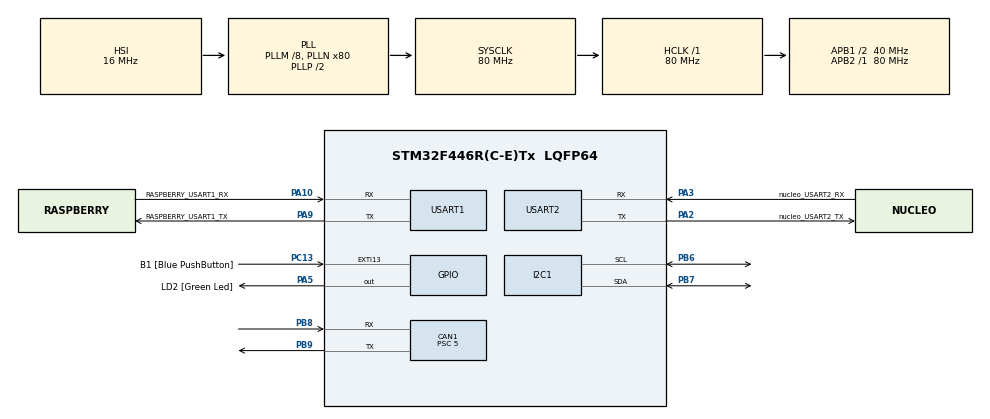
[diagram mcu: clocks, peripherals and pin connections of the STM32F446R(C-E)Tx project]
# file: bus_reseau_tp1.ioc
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CAN1.BS1=CAN_BS1_13TQ
CAN1.BS2=CAN_BS2_2TQ
CAN1.CalculateBaudRate=500000
CAN1.CalculateTimeBit=2000
CAN1.CalculateTimeQuantum=125.0
CAN1.Prescaler=5
Mcu.Family=STM32F4
Mcu.Name=STM32F446R(C-E)Tx
Mcu.Package=LQFP64
NVIC.PriorityGroup=NVIC_PRIORITYGROUP_0
NVIC.USART1_IRQn=true\:0\:0\:false\:false\:true\:true\:true\:true
PA10.GPIO_Label=RASPBERRY_USART1_RX
PA10.Mode=Asynchronous
PA10.Signal=USART1_RX
PA13.GPIO_Label=TMS
PA13.Mode=Serial_Wire
PA13.Signal=SYS_JTMS-SWDIO
PA14.GPIO_Label=TCK
PA14.Mode=Serial_Wire
PA14.Signal=SYS_JTCK-SWCLK
PA2.GPIO_Label=nucleo_USART2_TX
PA2.Mode=Asynchronous
PA2.Signal=USART2_TX
PA3.GPIO_Label=nucleo_USART2_RX
PA3.Mode=Asynchronous
PA3.Signal=USART2_RX
PA5.GPIO_Label=LD2 [Green Led]
PA5.Signal=GPIO_Output
PA9.GPIO_Label=RASPBERRY_USART1_TX
PA9.Mode=Asynchronous
PA9.Signal=USART1_TX
PB3.GPIO_Label=SWO
PB3.Signal=SYS_JTDO-SWO
PB6.Mode=I2C
PB6.Signal=I2C1_SCL
PB7.Mode=I2C
PB7.Signal=I2C1_SDA
PB8.Mode=CAN_Activate
PB8.Signal=CAN1_RX
PB9.Mode=CAN_Activate
PB9.Signal=CAN1_TX
PC10.GPIO_Label=RASPBERRY_USART3_TX
PC10.Signal=USART3_TX
PC11.GPIO_Label=RASPBERRY_USART3_RX
PC11.Signal=USART3_RX
PC13.GPIO_Label=B1 [Blue PushButton]
PC13.GPIO_ModeDefaultEXTI=GPIO_MODE_IT_FALLING
PC13.Signal=GPXTI13
PC14-OSC32_IN.Mode=LSE-External-Oscillator
PC14-OSC32_IN.Signal=RCC_OSC32_IN
PC15-OSC32_OUT.Mode=LSE-External-Oscillator
PC15-OSC32_OUT.Signal=RCC_OSC32_OUT
PH0-OSC_IN.Mode=HSE-External-Oscillator
PH0-OSC_IN.Signal=RCC_OSC_IN
PH1-OSC_OUT.Mode=HSE-External-Oscillator
PH1-OSC_OUT.Signal=RCC_OSC_OUT
ProjectManager.HeapSize=0x200
ProjectManager.StackSize=0x400
ProjectManager.TargetToolchain=STM32CubeIDE
RCC.48MHZClocksFreq_Value=84000000
RCC.AHBFreq_Value=80000000
RCC.APB1CLKDivider=RCC_HCLK_DIV2
RCC.APB1Freq_Value=40000000
RCC.APB1TimFreq_Value=80000000
RCC.APB2Freq_Value=80000000
RCC.APB2TimFreq_Value=80000000
RCC.CortexFreq_Value=80000000
RCC.FLatency-AdvancedSettings=FLASH_LATENCY_2
RCC.HCLKFreq_Value=80000000
RCC.HSE_VALUE=8000000
RCC.HSI_VALUE=16000000
RCC.PLLM=8
RCC.PLLN=80
RCC.SYSCLKFreq_VALUE=80000000
RCC.SYSCLKSource=RCC_SYSCLKSOURCE_PLLCLK
RCC.USBFreq_Value=80000000
RCC.VCOOutputFreq_Value=160000000
USART1.VirtualMode=VM_ASYNC
USART2.VirtualMode=VM_ASYNC
board=NUCLEO-F446RE

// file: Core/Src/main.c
/* USER CODE BEGIN Header */
/**
 ******************************************************************************
 * @file           : main.c
 * @brief          : Main program body
 ******************************************************************************
 * @attention
 *
 * Copyright (c) 2024 STMicroelectronics.
 * All rights reserved.
 *
 * This software is licensed under terms that can be found in the LICENSE file
 * in the root directory of this software component.
 * If no LICENSE file comes with this software, it is provided AS-IS.
 *
 ******************************************************************************
 */
/* USER CODE END Header */
#include "main.h"

/* USER CODE BEGIN Includes */
#include "stdio.h"
#include "BMP280_vincent.h"
//#include "stm32f4xx_hal_can.h"

/* USER CODE END Includes */

/* USER CODE BEGIN PD */
#define BMP_ADDR (0x77 << 1)  // Décale 0x77 d'un bit vers la gauche
// DOC https://moodle.ensea.fr/pluginfile.php/5788/mod_resource/content/1/bst-bmp280-ds001.pdf page 29

#define BMP_ID_REG 0xD0 //id du registre selon la doc
/* USER CODE END PD */

CAN_HandleTypeDef hcan1;

I2C_HandleTypeDef hi2c1;

UART_HandleTypeDef huart1;
UART_HandleTypeDef huart2;

/* USER CODE BEGIN PV */
extern uint8_t RxBuff[RX_BUFF_SIZE];

extern CAN_TxHeaderTypeDef pHeader;
extern uint8_t aData[3];  // Tableau pour les données à transmettre
extern uint32_t pTxMailbox;
/* USER CODE END PV */

void SystemClock_Config(void);
static void MX_GPIO_Init(void);
static void MX_USART2_UART_Init(void);
static void MX_I2C1_Init(void);
static void MX_USART1_UART_Init(void);
static void MX_CAN1_Init(void);

/* USER CODE BEGIN 0 */
#ifdef __GNUC__  With GCC/RAISONANCE, small printf (option LD Linker->Libraries->Small printf    set to 'Yes') calls __io_putchar()
#define PUTCHAR_PROTOTYPE int __io_putchar(int ch)
#else
#define PUTCHAR_PROTOTYPE int fputc(int ch, FILE *f)
#endif  __GNUC__

/*
void can_change_temp(){

	//TP4 partie CAN d
	//début *******************************************

	BMP280_S32_t temp_uncompen;

	//déclaration des variables contenant la température non compensée
	temp_uncompen= BMP280_get_temperature(); //récupérer la température

	//déclaration des variables contenant la température  compensée
	BMP280_U32_t temp_comp,old_temp;

	temp_comp=bmp280_compensate_T_int32(temp_uncompen); //récupérer la température compensé

	if(fabs(temp_comp-old_temp)>40){

		// CAN part start  while loop
		aData[0] = 90;  // D0 : 90° en hexadécimal (0x5A)
		aData[1] = 1-aData[1];  // D1 : Angle positif

	}

//tx_can

//	// Envoi du message CAN avec l'angle de 90°
//	HAL_StatusTypeDef status = HAL_CAN_AddTxMessage(&hcan1, &pHeader, aData, &pTxMailbox);
//
//	// Vérification du statut d'envoi
//	if (status != HAL_OK) {
//		// Gérer l'erreur d'envoi
//		printf(" [can_setter] err while CAN\r\n");
//	}

	//CAN oart finish while loop

	old_temp = temp_comp;//mise à jour de la température

}*/

/* USER CODE END 0 */

int main(void)
{

	/* MCU Configuration--------------------------------------------------------*/

	/* Reset of all peripherals, Initializes the Flash interface and the Systick. */
	HAL_Init();

	/* Configure the system clock */
	SystemClock_Config();

	/* Initialize all configured peripherals */
	MX_GPIO_Init();
	MX_USART2_UART_Init();
	MX_I2C1_Init();
	MX_USART1_UART_Init();
	MX_CAN1_Init();
	/* USER CODE BEGIN 2 */

	HAL_UART_Receive_IT(&huart1, RxBuff,RX_BUFF_SIZE);

	BMP280_S32_t temp_uncompen;
	BMP280_S32_t pres_uncompen;

	//déclaration des variables contenant la température non compensée
	BMP280_U32_t temp_comp;
	BMP280_U32_t pres_comp;

	BMP280_checkID();
	BMP280_config();
	BMP280_calib(); //récupère données étallonnage

	printf("main\r\n");

	//***************** COnnexion au moteur Avec fonctions du driver ******************************

	//enable_can();

	//***********************************************

	//********************FOnctionnel avec Mr.B**********************************************************************
	//TP4 partie CAN d
	//début *******************************************

	/*

	//Activer le module can
	HAL_StatusTypeDef start_can= HAL_CAN_Start(&hcan1);
	if(start_can!= HAL_OK) {

		// Gérer l'erreur d'envoi
		printf("erreur démarrage CAN\r\n");

	}
	 */

	/*
	//déclaration du pHeader
	CAN_TxHeaderTypeDef pHeader;
	uint8_t aData[3];  // Tableau pour les données à transmettre

	// Configuration du champ pHeader
	pHeader.StdId = 0x61;          // Identifiant standard pour la commande "Angle"
	pHeader.IDE = CAN_ID_STD;      //(0x00000000U)  !< Standard Id
	pHeader.RTR = CAN_RTR_DATA;    //(0x00000000U)  !< Data frame
	pHeader.DLC = 2;
	pHeader.TransmitGlobalTime = DISABLE;

	aData[0] = 90;  // D0 : 90° en hexadécimal (0x5A)
	aData[1] = 0x00;  // D1 : Angle positif

	uint32_t pTxMailbox; // Variable pour stocker l'indice de la boîte aux lettres CAN

	// Envoi du message CAN avec l'angle de 90°
	HAL_StatusTypeDef status = HAL_CAN_AddTxMessage(&hcan1, &pHeader, aData, &pTxMailbox);

	// Vérification du statut d'envoi
	if (status != HAL_OK) {
		// Gérer l'erreur d'envoi
		printf("erreur CAN\r\n");
	}
	else{
		printf("premiere conf reussi\r\n");
	}
	//fin partie CAN *******************************************

	//*********************************************************************************************

	 */

	//tx_can(pHeader, aData, pTxMailbox);

	/* USER CODE END 2 */

	/* Infinite loop */
	/* USER CODE BEGIN WHILE */
	while (1)
	{

/*

		//printf("\n on rentre dans le while\r\n");

		//capter la température
		temp_uncompen= BMP280_get_temperature(); //récupérer la température
		temp_comp=bmp280_compensate_T_int32(temp_uncompen); //récupérer la température

		//printf("T=%ld%ld.%ld%ld_C\r\n",(temp_comp/1000)%10,(temp_comp/100)%10,(temp_comp/10)%10,temp_comp%10);

		//Les Affichages

		//Température

		printf("valeur non compensée de la température %u \r\n",temp_uncompen);

		printf("T=%ld%ld.%ld%ld_C\r\n",(temp_comp/1000)%10,(temp_comp/100)%10,(temp_comp/10)%10,temp_comp%10);

		//Pression
		pres_uncompen=BMP280_get_pressure(); //récupérer la pression
		pres_comp=bmp280_compensate_P_int64(pres_uncompen); //compenser la pression
		//HAL_Delay(1000);

		printf("P=%f_Pa  \r\n",((float)(pres_comp))/256);
*/

		/*
		//*******************************************Fonctionnel CAN avec Mr.B *********************

		// CAN part start  while loop
		aData[0] = 90;  // D0 : 90° en hexadécimal (0x5A)
		aData[1] = 1-aData[1];  //

		// Envoi du message CAN avec l'angle de 90°
		HAL_StatusTypeDef status = HAL_CAN_AddTxMessage(&hcan1, &pHeader, aData, &pTxMailbox);

		// Vérification du statut d'envoi
		if (status != HAL_OK) {
			// Gérer l'erreur d'envoi
			printf(" err while CAN\r\n");
		}
		else {
			printf("change rotation complete \r\n");

		}

		//CAN oart finish while loop

		//*******************************************Fonctionnel CAN avec Mr.B *********************
		 */

		//*********************************************TP5 5.1**********************

		//Faire pivoter le moteur +90 puis -90 avec la fonction du driver
		//can_setter(pHeader, aData, pTxMailbox);

		//*********************************************TP5 5.2**********************
		//temp_uncompen= BMP280_get_temperature(); //récupérer la température
		//temp_comp=bmp280_compensate_T_int32(temp_uncompen); //récupérer la température

		//can_change_temp(temp_comp);

		//faire bouger le moteur en fonction de la température

		HAL_Delay(1000);

		/* USER CODE END WHILE */

	}
}

void SystemClock_Config(void)
{
	RCC_OscInitTypeDef RCC_OscInitStruct = {0};
	RCC_ClkInitTypeDef RCC_ClkInitStruct = {0};

	/** Configure the main internal regulator output voltage
	 */
	__HAL_RCC_PWR_CLK_ENABLE();
	__HAL_PWR_VOLTAGESCALING_CONFIG(PWR_REGULATOR_VOLTAGE_SCALE3);

	/** Initializes the RCC Oscillators according to the specified parameters
	 * in the RCC_OscInitTypeDef structure.
	 */
	RCC_OscInitStruct.OscillatorType = RCC_OSCILLATORTYPE_HSI;
	RCC_OscInitStruct.HSIState = RCC_HSI_ON;
	RCC_OscInitStruct.HSICalibrationValue = RCC_HSICALIBRATION_DEFAULT;
	RCC_OscInitStruct.PLL.PLLState = RCC_PLL_ON;
	RCC_OscInitStruct.PLL.PLLSource = RCC_PLLSOURCE_HSI;
	RCC_OscInitStruct.PLL.PLLM = 8;
	RCC_OscInitStruct.PLL.PLLN = 80;
	RCC_OscInitStruct.PLL.PLLP = RCC_PLLP_DIV2;
	RCC_OscInitStruct.PLL.PLLQ = 2;
	RCC_OscInitStruct.PLL.PLLR = 2;
	if (HAL_RCC_OscConfig(&RCC_OscInitStruct) != HAL_OK)
	{
		Error_Handler();
	}

	/** Initializes the CPU, AHB and APB buses clocks
	 */
	RCC_ClkInitStruct.ClockType = RCC_CLOCKTYPE_HCLK|RCC_CLOCKTYPE_SYSCLK
			|RCC_CLOCKTYPE_PCLK1|RCC_CLOCKTYPE_PCLK2;
	RCC_ClkInitStruct.SYSCLKSource = RCC_SYSCLKSOURCE_PLLCLK;
	RCC_ClkInitStruct.AHBCLKDivider = RCC_SYSCLK_DIV1;
	RCC_ClkInitStruct.APB1CLKDivider = RCC_HCLK_DIV2;
	RCC_ClkInitStruct.APB2CLKDivider = RCC_HCLK_DIV1;

	if (HAL_RCC_ClockConfig(&RCC_ClkInitStruct, FLASH_LATENCY_2) != HAL_OK)
	{
		Error_Handler();
	}
}

static void MX_CAN1_Init(void)
{

	hcan1.Instance = CAN1;
	hcan1.Init.Prescaler = 5;
	hcan1.Init.Mode = CAN_MODE_NORMAL;
	hcan1.Init.SyncJumpWidth = CAN_SJW_1TQ;
	hcan1.Init.TimeSeg1 = CAN_BS1_13TQ;
	hcan1.Init.TimeSeg2 = CAN_BS2_2TQ;
	hcan1.Init.TimeTriggeredMode = DISABLE;
	hcan1.Init.AutoBusOff = DISABLE;
	hcan1.Init.AutoWakeUp = DISABLE;
	hcan1.Init.AutoRetransmission = DISABLE;
	hcan1.Init.ReceiveFifoLocked = DISABLE;
	hcan1.Init.TransmitFifoPriority = DISABLE;
	if (HAL_CAN_Init(&hcan1) != HAL_OK)
	{
		Error_Handler();
	}

}

static void MX_I2C1_Init(void)
{

	hi2c1.Instance = I2C1;
	hi2c1.Init.ClockSpeed = 100000;
	hi2c1.Init.DutyCycle = I2C_DUTYCYCLE_2;
	hi2c1.Init.OwnAddress1 = 0;
	hi2c1.Init.AddressingMode = I2C_ADDRESSINGMODE_7BIT;
	hi2c1.Init.DualAddressMode = I2C_DUALADDRESS_DISABLE;
	hi2c1.Init.OwnAddress2 = 0;
	hi2c1.Init.GeneralCallMode = I2C_GENERALCALL_DISABLE;
	hi2c1.Init.NoStretchMode = I2C_NOSTRETCH_DISABLE;
	if (HAL_I2C_Init(&hi2c1) != HAL_OK)
	{
		Error_Handler();
	}

}

static void MX_USART1_UART_Init(void)
{

	huart1.Instance = USART1;
	huart1.Init.BaudRate = 115200;
	huart1.Init.WordLength = UART_WORDLENGTH_8B;
	huart1.Init.StopBits = UART_STOPBITS_1;
	huart1.Init.Parity = UART_PARITY_NONE;
	huart1.Init.Mode = UART_MODE_TX_RX;
	huart1.Init.HwFlowCtl = UART_HWCONTROL_NONE;
	huart1.Init.OverSampling = UART_OVERSAMPLING_16;
	if (HAL_UART_Init(&huart1) != HAL_OK)
	{
		Error_Handler();
	}

}

static void MX_USART2_UART_Init(void)
{

	huart2.Instance = USART2;
	huart2.Init.BaudRate = 115200;
	huart2.Init.WordLength = UART_WORDLENGTH_8B;
	huart2.Init.StopBits = UART_STOPBITS_1;
	huart2.Init.Parity = UART_PARITY_NONE;
	huart2.Init.Mode = UART_MODE_TX_RX;
	huart2.Init.HwFlowCtl = UART_HWCONTROL_NONE;
	huart2.Init.OverSampling = UART_OVERSAMPLING_16;
	if (HAL_UART_Init(&huart2) != HAL_OK)
	{
		Error_Handler();
	}

}

static void MX_GPIO_Init(void)
{
	GPIO_InitTypeDef GPIO_InitStruct = {0};

	/* GPIO Ports Clock Enable */
	__HAL_RCC_GPIOC_CLK_ENABLE();
	__HAL_RCC_GPIOH_CLK_ENABLE();
	__HAL_RCC_GPIOA_CLK_ENABLE();
	__HAL_RCC_GPIOB_CLK_ENABLE();

	/*Configure GPIO pin Output Level */
	HAL_GPIO_WritePin(LD2_GPIO_Port, LD2_Pin, GPIO_PIN_RESET);

	/*Configure GPIO pin : B1_Pin */
	GPIO_InitStruct.Pin = B1_Pin;
	GPIO_InitStruct.Mode = GPIO_MODE_IT_FALLING;
	GPIO_InitStruct.Pull = GPIO_NOPULL;
	HAL_GPIO_Init(B1_GPIO_Port, &GPIO_InitStruct);

	/*Configure GPIO pin : LD2_Pin */
	GPIO_InitStruct.Pin = LD2_Pin;
	GPIO_InitStruct.Mode = GPIO_MODE_OUTPUT_PP;
	GPIO_InitStruct.Pull = GPIO_NOPULL;
	GPIO_InitStruct.Speed = GPIO_SPEED_FREQ_LOW;
	HAL_GPIO_Init(LD2_GPIO_Port, &GPIO_InitStruct);

	/*Configure GPIO pins : RASPBERRY_USART3_TX_Pin RASPBERRY_USART3_RX_Pin */
	GPIO_InitStruct.Pin = RASPBERRY_USART3_TX_Pin|RASPBERRY_USART3_RX_Pin;
	GPIO_InitStruct.Mode = GPIO_MODE_AF_PP;
	GPIO_InitStruct.Pull = GPIO_NOPULL;
	GPIO_InitStruct.Speed = GPIO_SPEED_FREQ_VERY_HIGH;
	GPIO_InitStruct.Alternate = GPIO_AF7_USART3;
	HAL_GPIO_Init(GPIOC, &GPIO_InitStruct);

}

void Error_Handler(void)
{
	__disable_irq();
	while (1)
	{
	}
}
